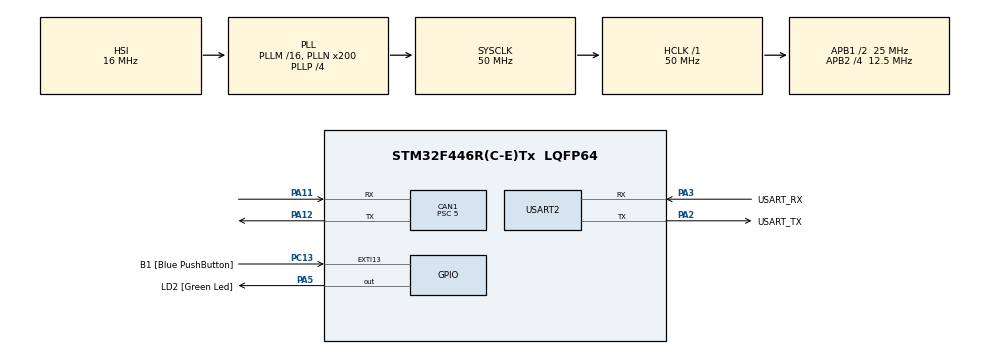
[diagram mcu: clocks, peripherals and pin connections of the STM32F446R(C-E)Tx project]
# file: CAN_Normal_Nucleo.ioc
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CAN1.BS1=CAN_BS1_8TQ
CAN1.CalculateBaudRate=500000
CAN1.CalculateTimeBit=2000
CAN1.CalculateTimeQuantum=200.0
CAN1.Mode=CAN_MODE_NORMAL
CAN1.Prescaler=5
Mcu.Family=STM32F4
Mcu.Name=STM32F446R(C-E)Tx
Mcu.Package=LQFP64
NVIC.CAN1_RX0_IRQn=true\:0\:0\:false\:false\:true\:true\:true\:true
NVIC.CAN1_RX1_IRQn=true\:0\:0\:false\:false\:true\:true\:true\:true
NVIC.CAN1_SCE_IRQn=true\:0\:0\:false\:false\:true\:true\:true\:true
NVIC.CAN1_TX_IRQn=true\:0\:0\:false\:false\:true\:true\:true\:true
NVIC.EXTI15_10_IRQn=true\:0\:0\:false\:false\:true\:true\:true\:true
NVIC.PriorityGroup=NVIC_PRIORITYGROUP_0
NVIC.TIM6_DAC_IRQn=true\:0\:0\:false\:false\:true\:true\:true\:true
PA11.Mode=CAN_Activate
PA11.Signal=CAN1_RX
PA12.Mode=CAN_Activate
PA12.Signal=CAN1_TX
PA13.GPIO_Label=TMS
PA13.Signal=SYS_JTMS-SWDIO
PA14.GPIO_Label=TCK
PA14.Signal=SYS_JTCK-SWCLK
PA2.GPIO_Label=USART_TX
PA2.Mode=Asynchronous
PA2.Signal=USART2_TX
PA3.GPIO_Label=USART_RX
PA3.Mode=Asynchronous
PA3.Signal=USART2_RX
PA5.GPIO_Label=LD2 [Green Led]
PA5.Signal=GPIO_Output
PB3.GPIO_Label=SWO
PB3.Signal=SYS_JTDO-SWO
PC13.GPIO_Label=B1 [Blue PushButton]
PC13.GPIO_ModeDefaultEXTI=GPIO_MODE_IT_FALLING
PC13.Signal=GPXTI13
PC14-OSC32_IN.Signal=RCC_OSC32_IN
PC15-OSC32_OUT.Signal=RCC_OSC32_OUT
PH0-OSC_IN.Signal=RCC_OSC_IN
PH1-OSC_OUT.Signal=RCC_OSC_OUT
ProjectManager.HeapSize=0x200
ProjectManager.StackSize=0x400
ProjectManager.TargetToolchain=STM32CubeIDE
RCC.AHBFreq_Value=50000000
RCC.APB1CLKDivider=RCC_HCLK_DIV2
RCC.APB1Freq_Value=25000000
RCC.APB1TimFreq_Value=50000000
RCC.APB2CLKDivider=RCC_HCLK_DIV4
RCC.APB2Freq_Value=12500000
RCC.APB2TimFreq_Value=25000000
RCC.CortexFreq_Value=50000000
RCC.FLatency-AdvancedSettings=FLASH_LATENCY_1
RCC.HCLKFreq_Value=50000000
RCC.HSE_VALUE=8000000
RCC.HSI_VALUE=16000000
RCC.LSE_VALUE=32768
RCC.PLLN=200
RCC.PLLP=RCC_PLLP_DIV4
RCC.SYSCLKFreq_VALUE=50000000
RCC.SYSCLKSource=RCC_SYSCLKSOURCE_PLLCLK
RCC.USBFreq_Value=100000000
RCC.VCOOutputFreq_Value=200000000
TIM6.Period=62499
TIM6.Prescaler=799
USART2.VirtualMode=VM_ASYNC
VP_TIM6_VS_ClockSourceINT.Mode=Enable_Timer
board=NUCLEO-F446RE

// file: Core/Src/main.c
/* USER CODE BEGIN Header */
/**
 ******************************************************************************
 * @file           : main.c
 * @brief          : Main program body
 ******************************************************************************
 * @attention
 *
 * Copyright (c) 2024 STMicroelectronics.
 * All rights reserved.
 *
 * This software is licensed under terms that can be found in the LICENSE file
 * in the root directory of this software component.
 * If no LICENSE file comes with this software, it is provided AS-IS.
 *
 ******************************************************************************
 */
/* USER CODE END Header */
#include "main.h"

/* USER CODE BEGIN Includes */
#include <string.h>
#include <stdio.h>
/* USER CODE END Includes */

CAN_HandleTypeDef hcan1;

TIM_HandleTypeDef htim6;

UART_HandleTypeDef huart2;

/* USER CODE BEGIN PV */
volatile uint8_t rx_complete_flag = 0;

uint8_t rcvd_msg[5];

CAN_RxHeaderTypeDef RxHeader;

/* USER CODE END PV */

void SystemClock_Config(void);
static void MX_GPIO_Init(void);
static void MX_TIM6_Init(void);
static void MX_CAN1_Init(void);
static void MX_USART2_UART_Init(void);
/* USER CODE BEGIN PFP */
void CAN1_Tx(void);
void CAN_Filter_Config(void);

// Transmit Callback when transmit message is completed.
void HAL_CAN_TxMailbox0CompleteCallback(CAN_HandleTypeDef *hcan);
void HAL_CAN_TxMailbox1CompleteCallback(CAN_HandleTypeDef *hcan);
void HAL_CAN_TxMailbox2CompleteCallback(CAN_HandleTypeDef *hcan);
void HAL_CAN_RxFifo0MsgPendingCallback(CAN_HandleTypeDef *hcan);
void HAL_CAN_ErrorCallback(CAN_HandleTypeDef *hcan);

/* USER CODE END PFP */

int main(void)
{

  /* MCU Configuration--------------------------------------------------------*/

  /* Reset of all peripherals, Initializes the Flash interface and the Systick. */
  HAL_Init();

  /* Configure the system clock */
  SystemClock_Config();

  /* Initialize all configured peripherals */
  MX_GPIO_Init();
  MX_TIM6_Init();
  MX_CAN1_Init();
  MX_USART2_UART_Init();
  /* USER CODE BEGIN 2 */

	/**
	 * CAN Module:
	 */
	CAN_Filter_Config();
	// 1. Enable Interrupt.
	// This will enable the interrupt bit in the following registers: TMEIE, FMPIE0, BOFIE.
	if (HAL_CAN_ActivateNotification(&hcan1,
	CAN_IT_TX_MAILBOX_EMPTY | CAN_IT_RX_FIFO0_MSG_PENDING | CAN_IT_BUSOFF)
			!= HAL_OK) {
		Error_Handler();
	};

	// 2. Start the CAN module.
	if (HAL_CAN_Start(&hcan1) != HAL_OK) {
		Error_Handler();
	}
	char *uart_msg = "Nucleo board starts\r\n";
	HAL_UART_Transmit(&huart2, (uint8_t*) uart_msg, strlen(uart_msg),
	HAL_MAX_DELAY);

  /* USER CODE END 2 */

  /* Infinite loop */
  /* USER CODE BEGIN WHILE */
	while (1) {

		if (rx_complete_flag == 1) {
			rx_complete_flag = 0;
			if (RxHeader.StdId == 0x65D && RxHeader.RTR == 0) {
				char uart_msg[50];
				sprintf(uart_msg, "Message Received : %d\r\n", rcvd_msg[0]);
				HAL_UART_Transmit(&huart2, (uint8_t*) uart_msg,
						strlen(uart_msg),
						HAL_MAX_DELAY);
			}
		}
    /* USER CODE END WHILE */

	}
}

void SystemClock_Config(void)
{
  RCC_OscInitTypeDef RCC_OscInitStruct = {0};
  RCC_ClkInitTypeDef RCC_ClkInitStruct = {0};

  /** Configure the main internal regulator output voltage
  */
  __HAL_RCC_PWR_CLK_ENABLE();
  __HAL_PWR_VOLTAGESCALING_CONFIG(PWR_REGULATOR_VOLTAGE_SCALE3);

  /** Initializes the RCC Oscillators according to the specified parameters
  * in the RCC_OscInitTypeDef structure.
  */
  RCC_OscInitStruct.OscillatorType = RCC_OSCILLATORTYPE_HSI;
  RCC_OscInitStruct.HSIState = RCC_HSI_ON;
  RCC_OscInitStruct.HSICalibrationValue = RCC_HSICALIBRATION_DEFAULT;
  RCC_OscInitStruct.PLL.PLLState = RCC_PLL_ON;
  RCC_OscInitStruct.PLL.PLLSource = RCC_PLLSOURCE_HSI;
  RCC_OscInitStruct.PLL.PLLM = 16;
  RCC_OscInitStruct.PLL.PLLN = 200;
  RCC_OscInitStruct.PLL.PLLP = RCC_PLLP_DIV4;
  RCC_OscInitStruct.PLL.PLLQ = 2;
  RCC_OscInitStruct.PLL.PLLR = 2;
  if (HAL_RCC_OscConfig(&RCC_OscInitStruct) != HAL_OK)
  {
    Error_Handler();
  }

  /** Initializes the CPU, AHB and APB buses clocks
  */
  RCC_ClkInitStruct.ClockType = RCC_CLOCKTYPE_HCLK|RCC_CLOCKTYPE_SYSCLK
                              |RCC_CLOCKTYPE_PCLK1|RCC_CLOCKTYPE_PCLK2;
  RCC_ClkInitStruct.SYSCLKSource = RCC_SYSCLKSOURCE_PLLCLK;
  RCC_ClkInitStruct.AHBCLKDivider = RCC_SYSCLK_DIV1;
  RCC_ClkInitStruct.APB1CLKDivider = RCC_HCLK_DIV2;
  RCC_ClkInitStruct.APB2CLKDivider = RCC_HCLK_DIV4;

  if (HAL_RCC_ClockConfig(&RCC_ClkInitStruct, FLASH_LATENCY_1) != HAL_OK)
  {
    Error_Handler();
  }
}

static void MX_CAN1_Init(void)
{

  hcan1.Instance = CAN1;
  hcan1.Init.Prescaler = 5;
  hcan1.Init.Mode = CAN_MODE_NORMAL;
  hcan1.Init.SyncJumpWidth = CAN_SJW_1TQ;
  hcan1.Init.TimeSeg1 = CAN_BS1_8TQ;
  hcan1.Init.TimeSeg2 = CAN_BS2_1TQ;
  hcan1.Init.TimeTriggeredMode = DISABLE;
  hcan1.Init.AutoBusOff = DISABLE;
  hcan1.Init.AutoWakeUp = DISABLE;
  hcan1.Init.AutoRetransmission = ENABLE;
  hcan1.Init.ReceiveFifoLocked = DISABLE;
  hcan1.Init.TransmitFifoPriority = DISABLE;
  if (HAL_CAN_Init(&hcan1) != HAL_OK)
  {
    Error_Handler();
  }

}

static void MX_TIM6_Init(void)
{

  TIM_MasterConfigTypeDef sMasterConfig = {0};

  htim6.Instance = TIM6;
  htim6.Init.Prescaler = 799;
  htim6.Init.CounterMode = TIM_COUNTERMODE_UP;
  htim6.Init.Period = 62499;
  htim6.Init.AutoReloadPreload = TIM_AUTORELOAD_PRELOAD_DISABLE;
  if (HAL_TIM_Base_Init(&htim6) != HAL_OK)
  {
    Error_Handler();
  }
  sMasterConfig.MasterOutputTrigger = TIM_TRGO_RESET;
  sMasterConfig.MasterSlaveMode = TIM_MASTERSLAVEMODE_DISABLE;
  if (HAL_TIMEx_MasterConfigSynchronization(&htim6, &sMasterConfig) != HAL_OK)
  {
    Error_Handler();
  }

}

static void MX_USART2_UART_Init(void)
{

  huart2.Instance = USART2;
  huart2.Init.BaudRate = 115200;
  huart2.Init.WordLength = UART_WORDLENGTH_8B;
  huart2.Init.StopBits = UART_STOPBITS_1;
  huart2.Init.Parity = UART_PARITY_NONE;
  huart2.Init.Mode = UART_MODE_TX_RX;
  huart2.Init.HwFlowCtl = UART_HWCONTROL_NONE;
  huart2.Init.OverSampling = UART_OVERSAMPLING_16;
  if (HAL_UART_Init(&huart2) != HAL_OK)
  {
    Error_Handler();
  }

}

static void MX_GPIO_Init(void)
{
  GPIO_InitTypeDef GPIO_InitStruct = {0};

  /* GPIO Ports Clock Enable */
  __HAL_RCC_GPIOC_CLK_ENABLE();
  __HAL_RCC_GPIOH_CLK_ENABLE();
  __HAL_RCC_GPIOA_CLK_ENABLE();
  __HAL_RCC_GPIOB_CLK_ENABLE();

  /*Configure GPIO pin Output Level */
  HAL_GPIO_WritePin(LD2_GPIO_Port, LD2_Pin, GPIO_PIN_RESET);

  /*Configure GPIO pin : B1_Pin */
  GPIO_InitStruct.Pin = B1_Pin;
  GPIO_InitStruct.Mode = GPIO_MODE_IT_FALLING;
  GPIO_InitStruct.Pull = GPIO_NOPULL;
  HAL_GPIO_Init(B1_GPIO_Port, &GPIO_InitStruct);

  /*Configure GPIO pin : LD2_Pin */
  GPIO_InitStruct.Pin = LD2_Pin;
  GPIO_InitStruct.Mode = GPIO_MODE_OUTPUT_PP;
  GPIO_InitStruct.Pull = GPIO_NOPULL;
  GPIO_InitStruct.Speed = GPIO_SPEED_FREQ_LOW;
  HAL_GPIO_Init(LD2_GPIO_Port, &GPIO_InitStruct);

  /* EXTI interrupt init*/
  HAL_NVIC_SetPriority(EXTI15_10_IRQn, 0, 0);
  HAL_NVIC_EnableIRQ(EXTI15_10_IRQn);

}

/* USER CODE BEGIN 4 */
void HAL_TIM_PeriodElapsedCallback(TIM_HandleTypeDef *htim) {
	if (htim == &htim6) {
		HAL_GPIO_TogglePin(LD2_GPIO_Port, LD2_Pin);

		// - Send once.
		CAN1_Tx();
	}
}

void HAL_GPIO_EXTI_Callback(uint16_t GPIO_Pin) {

	if (GPIO_Pin == B1_Pin) // Check if the interrupt comes from the button pin
	{
		// If button is pressed, timer 6 will start which means
		// We will start Tx message from Discovery board.
		HAL_TIM_Base_Start_IT(&htim6);
	}
}

void CAN_Filter_Config(void) {
	/**
	 * Filter which message we want to receive.
	 * We will set to accept all.
	 * That's why the ID and Mask filter are all set to 0.
	 * We will use IDMASK, which just means ID mode.
	 */
	CAN_FilterTypeDef can1_filter_init;

	can1_filter_init.FilterActivation = ENABLE;
	can1_filter_init.FilterBank = 0;
	can1_filter_init.FilterFIFOAssignment = CAN_RX_FIFO0;
	can1_filter_init.FilterIdHigh = 0x0000;
	can1_filter_init.FilterIdLow = 0x0000;
	can1_filter_init.FilterMaskIdHigh = 0x0000;
	can1_filter_init.FilterMaskIdLow = 0x0000;
	can1_filter_init.FilterMode = CAN_FILTERMODE_IDMASK;
	can1_filter_init.FilterScale = CAN_FILTERSCALE_32BIT;

	if (HAL_CAN_ConfigFilter(&hcan1, &can1_filter_init) != HAL_OK) {
		Error_Handler();
	}

}

uint8_t led_no = 0;
void CAN1_Tx(void) {

	// Define mailbox.
	uint32_t txMailbox;

	// Define header.
	CAN_TxHeaderTypeDef txHeader;
	txHeader.DLC = 1; // Data length count
	txHeader.StdId = 0x65D; // Arbitrary number
	txHeader.IDE = CAN_ID_STD; // Standard or External frame
	txHeader.RTR = CAN_RTR_DATA; // Type of frame: Data or request/remote

	uint8_t message = ++led_no;
	if (led_no == 3) {
		led_no = 0;
	}

	// In this function, the mailbox will be updated.
	// 1. Trigger transmission here.
	if (HAL_CAN_AddTxMessage(&hcan1, &txHeader, &message, &txMailbox)
			!= HAL_OK) {
		char *error_msg = "Error while triggering transmit\r\n";
		HAL_UART_Transmit(&huart2, (uint8_t*) error_msg, strlen(error_msg),
		HAL_MAX_DELAY);
		Error_Handler();
	}

	// 2. We don't need to check if Message is not pending anymore.
	// Since we are just using interrupt.
}

/**
 * Tx Callback:
 * We don't know which mailbox will trigger the callback.
 * So we implement callback from all inbox.
 */
void HAL_CAN_TxMailbox0CompleteCallback(CAN_HandleTypeDef *hcan) {
	// 3. Bus is idle here, compete in arbitration. If arbitration wins,
	// transmit will succeed then the mailbox weill be empty again.
	char *msg = "Message transmitted Mailbox0\r\n";
	HAL_UART_Transmit(&huart2, (uint8_t*) msg, strlen(msg), HAL_MAX_DELAY);
}

void HAL_CAN_TxMailbox1CompleteCallback(CAN_HandleTypeDef *hcan) {

	char *msg = "Message transmitted Mailbox1 \r\n";
	HAL_UART_Transmit(&huart2, (uint8_t*) msg, strlen(msg), HAL_MAX_DELAY);

}

void HAL_CAN_TxMailbox2CompleteCallback(CAN_HandleTypeDef *hcan) {
	char *msg = "Message transmitted from Mailbox2 \r\n";
	HAL_UART_Transmit(&huart2, (uint8_t*) msg, strlen(msg), HAL_MAX_DELAY);

}

/**
 * Rx Callback:
 * when message received in Fifo0.
 */
void HAL_CAN_RxFifo0MsgPendingCallback(CAN_HandleTypeDef *hcan) {
	// 1. We don't need to wait for message, we know we just received them.
	// 2. Get message from Discovery board.
	if (HAL_CAN_GetRxMessage(&hcan1, CAN_RX_FIFO0, &RxHeader, rcvd_msg)
			== HAL_OK) {
		rx_complete_flag = 1;
	} else {
		Error_Handler();
	}

}

/* USER CODE END 4 */

void Error_Handler(void)
{
	__disable_irq();
	while (1) {
	}
}
